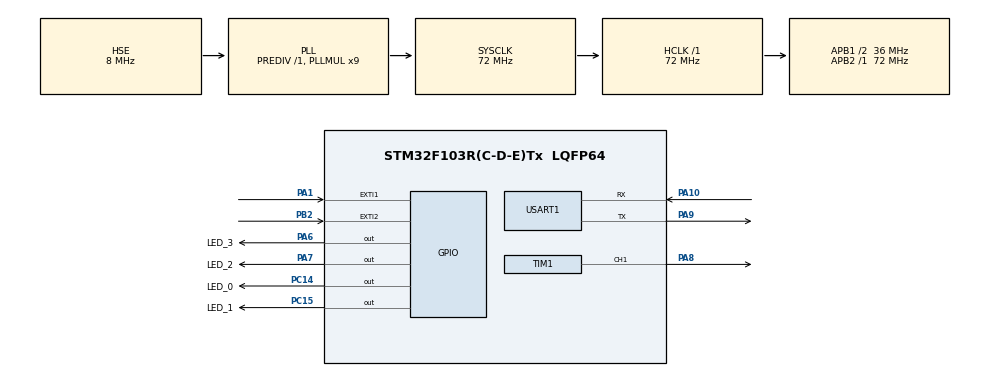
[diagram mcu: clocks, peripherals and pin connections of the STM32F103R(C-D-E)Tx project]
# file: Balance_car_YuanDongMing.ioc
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Mcu.Family=STM32F1
Mcu.Name=STM32F103R(C-D-E)Tx
Mcu.Package=LQFP64
NVIC.EXTI1_IRQn=true\:0\:0\:false\:false\:true\:true\:true\:true
NVIC.EXTI2_IRQn=true\:0\:0\:false\:false\:true\:true\:true\:true
NVIC.PriorityGroup=NVIC_PRIORITYGROUP_4
NVIC.TIM6_IRQn=true\:0\:0\:false\:false\:true\:true\:true\:true
NVIC.TIM7_IRQn=true\:0\:0\:false\:false\:true\:true\:true\:true
NVIC.USART1_IRQn=true\:0\:0\:false\:false\:true\:true\:true\:true
PA1.Signal=GPXTI1
PA10.Mode=Asynchronous
PA10.Signal=USART1_RX
PA13.Mode=Serial_Wire
PA13.Signal=SYS_JTMS-SWDIO
PA14.Mode=Serial_Wire
PA14.Signal=SYS_JTCK-SWCLK
PA6.GPIO_Label=LED_3
PA6.PinState=GPIO_PIN_SET
PA6.Signal=GPIO_Output
PA7.GPIO_Label=LED_2
PA7.PinState=GPIO_PIN_SET
PA7.Signal=GPIO_Output
PA8.Signal=S_TIM1_CH1
PA9.Mode=Asynchronous
PA9.Signal=USART1_TX
PB2.Signal=GPXTI2
PC14-OSC32_IN.GPIO_Label=LED_0
PC14-OSC32_IN.PinState=GPIO_PIN_SET
PC14-OSC32_IN.Signal=GPIO_Output
PC15-OSC32_OUT.GPIO_Label=LED_1
PC15-OSC32_OUT.PinState=GPIO_PIN_SET
PC15-OSC32_OUT.Signal=GPIO_Output
PD0-OSC_IN.Mode=HSE-External-Oscillator
PD0-OSC_IN.Signal=RCC_OSC_IN
PD1-OSC_OUT.Mode=HSE-External-Oscillator
PD1-OSC_OUT.Signal=RCC_OSC_OUT
ProjectManager.HeapSize=0x200
ProjectManager.StackSize=0x400
ProjectManager.TargetToolchain=STM32CubeIDE
RCC.AHBFreq_Value=72000000
RCC.APB1CLKDivider=RCC_HCLK_DIV2
RCC.APB1Freq_Value=36000000
RCC.APB1TimFreq_Value=72000000
RCC.APB2Freq_Value=72000000
RCC.APB2TimFreq_Value=72000000
RCC.HCLKFreq_Value=72000000
RCC.PLLMUL=RCC_PLL_MUL9
RCC.PLLSourceVirtual=RCC_PLLSOURCE_HSE
RCC.SYSCLKFreq_VALUE=72000000
RCC.SYSCLKSource=RCC_SYSCLKSOURCE_PLLCLK
RCC.USBFreq_Value=72000000
SH.S_TIM1_CH1.0=TIM1_CH1,PWM Generation1 CH1
TIM1.Channel-PWM\ Generation1\ CH1=TIM_CHANNEL_1
TIM1.Period=1999
TIM1.Prescaler=35
TIM6.Period=10000-1
TIM6.Prescaler=7200-1
TIM7.Period=1000-1
TIM7.Prescaler=72-1
USART1.VirtualMode=VM_ASYNC
VP_TIM6_VS_ClockSourceINT.Mode=Enable_Timer
VP_TIM7_VS_ClockSourceINT.Mode=Enable_Timer
board=custom

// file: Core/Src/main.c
/* USER CODE BEGIN Header */
/**
  ******************************************************************************
  * @file           : main.c
  * @brief          : Main program body
  ******************************************************************************
  * @attention
  *
  * Copyright (c) 2025 STMicroelectronics.
  * All rights reserved.
  *
  * This software is licensed under terms that can be found in the LICENSE file
  * in the root directory of this software component.
  * If no LICENSE file comes with this software, it is provided AS-IS.
  *
  ******************************************************************************
  */
/* USER CODE END Header */
#include "main.h"
#include "tim.h"
#include "usart.h"
#include "gpio.h"

/* USER CODE BEGIN Includes */
#include "../../bsp/music.h"
#include <stdio.h>
#include <sys/errno.h>
#include <unistd.h>
/* USER CODE END Includes */

/* USER CODE BEGIN PV */
uint8_t g_btn1_flag = 0;  //g:global, btn:button
uint8_t g_btn2_flag = 0;

uint8_t g_tim6_flag = 0;
/* USER CODE END PV */

void SystemClock_Config(void);
/* USER CODE BEGIN PFP */
void btn_proc(void);
void LED_proc(void);
/* USER CODE END PFP */

/* USER CODE BEGIN 0 */
//using nano, use _write to rewrite
int _write(int fd, char *ptr, int len) {
  if (fd == STDOUT_FILENO || fd == STDERR_FILENO) {
    HAL_UART_Transmit(&huart1, (uint8_t *)ptr, len, HAL_MAX_DELAY);
    return len;
  }
  errno = EIO;
  return -1;
}
/* USER CODE END 0 */

int main(void)
{

  /* MCU Configuration--------------------------------------------------------*/

  /* Reset of all peripherals, Initializes the Flash interface and the Systick. */
  HAL_Init();

  /* Configure the system clock */
  SystemClock_Config();

  /* Initialize all configured peripherals */
  MX_GPIO_Init();
  MX_TIM6_Init();
  MX_TIM1_Init();
  MX_TIM7_Init();
  MX_USART1_UART_Init();
  /* USER CODE BEGIN 2 */
  Music_Menu_On();
  printf("INIT OK\n");
  HAL_UART_Transmit(&huart1, (uint8_t *)"Init", 5, HAL_MAX_DELAY );
  /* USER CODE END 2 */

  /* Infinite loop */
  /* USER CODE BEGIN WHILE */
  while (1)
  {

    btn_proc();
    LED_proc();
    MusicProcess();
    // HAL_GPIO_WritePin(LED_0_GPIO_Port, LED_0_Pin, GPIO_PIN_RESET);
    // HAL_Delay(1000);
    // HAL_GPIO_WritePin(LED_0_GPIO_Port, LED_0_Pin, GPIO_PIN_SET);
    // HAL_GPIO_WritePin(LED_1_GPIO_Port, LED_1_Pin, GPIO_PIN_RESET);
    // HAL_Delay(1000);
    // HAL_GPIO_WritePin(LED_1_GPIO_Port, LED_1_Pin, GPIO_PIN_SET);
    // HAL_GPIO_WritePin(LED_2_GPIO_Port, LED_2_Pin, GPIO_PIN_RESET);
    // HAL_Delay(1000);
    // HAL_GPIO_WritePin(LED_2_GPIO_Port, LED_2_Pin, GPIO_PIN_SET);
    // HAL_GPIO_WritePin(LED_3_GPIO_Port, LED_3_Pin, GPIO_PIN_RESET);
    // HAL_Delay(1000);
    // HAL_GPIO_WritePin(LED_3_GPIO_Port, LED_3_Pin, GPIO_PIN_SET);
    /* USER CODE END WHILE */

  }
}

void SystemClock_Config(void)
{
  RCC_OscInitTypeDef RCC_OscInitStruct = {0};
  RCC_ClkInitTypeDef RCC_ClkInitStruct = {0};

  /** Initializes the RCC Oscillators according to the specified parameters
  * in the RCC_OscInitTypeDef structure.
  */
  RCC_OscInitStruct.OscillatorType = RCC_OSCILLATORTYPE_HSE;
  RCC_OscInitStruct.HSEState = RCC_HSE_ON;
  RCC_OscInitStruct.HSEPredivValue = RCC_HSE_PREDIV_DIV1;
  RCC_OscInitStruct.HSIState = RCC_HSI_ON;
  RCC_OscInitStruct.PLL.PLLState = RCC_PLL_ON;
  RCC_OscInitStruct.PLL.PLLSource = RCC_PLLSOURCE_HSE;
  RCC_OscInitStruct.PLL.PLLMUL = RCC_PLL_MUL9;
  if (HAL_RCC_OscConfig(&RCC_OscInitStruct) != HAL_OK)
  {
    Error_Handler();
  }

  /** Initializes the CPU, AHB and APB buses clocks
  */
  RCC_ClkInitStruct.ClockType = RCC_CLOCKTYPE_HCLK|RCC_CLOCKTYPE_SYSCLK
                              |RCC_CLOCKTYPE_PCLK1|RCC_CLOCKTYPE_PCLK2;
  RCC_ClkInitStruct.SYSCLKSource = RCC_SYSCLKSOURCE_PLLCLK;
  RCC_ClkInitStruct.AHBCLKDivider = RCC_SYSCLK_DIV1;
  RCC_ClkInitStruct.APB1CLKDivider = RCC_HCLK_DIV2;
  RCC_ClkInitStruct.APB2CLKDivider = RCC_HCLK_DIV1;

  if (HAL_RCC_ClockConfig(&RCC_ClkInitStruct, FLASH_LATENCY_2) != HAL_OK)
  {
    Error_Handler();
  }
}

/* USER CODE BEGIN 4 */
void btn_proc(void) {
  if (g_btn1_flag == 1) {
    g_btn1_flag = 0;
    HAL_TIM_Base_Start_IT(&htim6);
  }
  if (g_btn2_flag == 1) {
    g_btn2_flag = 0;
    HAL_TIM_Base_Stop_IT(&htim6);
  }
}

void LED_proc(void) {
  if (g_tim6_flag == 1) {
    g_tim6_flag = 0;
    HAL_GPIO_TogglePin(LED_0_GPIO_Port, LED_0_Pin);
  }
}

/* USER CODE END 4 */

void Error_Handler(void)
{
  __disable_irq();
  while (1)
  {
  }
}
